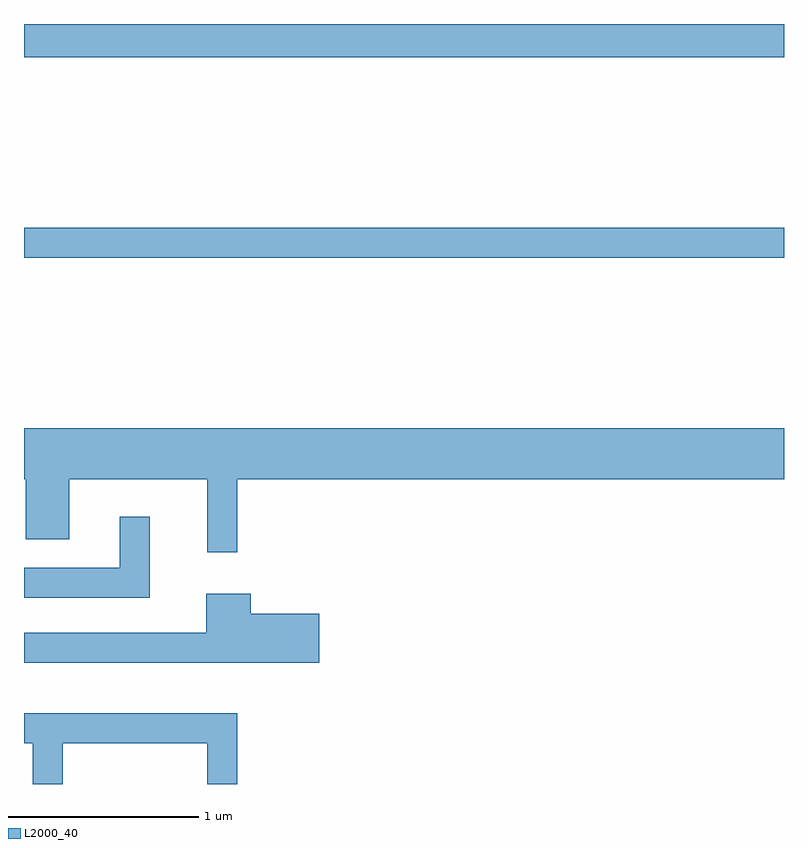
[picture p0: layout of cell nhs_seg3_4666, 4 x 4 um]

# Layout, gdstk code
import gdstk
lib = gdstk.Library(unit=1e-6, precision=1e-09)
def R(c, l, rs):  # rectangles x0, y0, x1, y1
    for r in rs: c.add(gdstk.rectangle(r[:2], r[2:], *l))
def P(c, l, *ps):  # polygons
    for p in ps: c.add(gdstk.Polygon(p, *l))
L2000_40 = (2000, 40)

nhs_seg3_4666 = lib.new_cell('nhs_seg3_4666')
R(nhs_seg3_4666, L2000_40, [(321.611,1202.661,325.611,1202.819), (321.611,1203.716,325.611,1203.892)])
P(nhs_seg3_4666, L2000_40, [(322.734,1201.496),(325.611,1201.496),(325.611,1201.764),(321.611,1201.764),(321.611,1201.496),(321.621,1201.496),(321.621,1201.181),(321.849,1201.181),(321.849,1201.496),(322.576,1201.496),(322.576,1201.113),(322.734,1201.113)],
  [(322.274,1201.298),(322.116,1201.298),(322.116,1201.029),(321.611,1201.029),(321.611,1200.871),(322.274,1200.871)],
  [(323.164,1200.789),(322.804,1200.789),(322.804,1200.894),(322.571,1200.894),(322.571,1200.689),(321.611,1200.689),(321.611,1200.531),(323.164,1200.531)],
  [(321.814,1200.106),(322.576,1200.106),(322.576,1199.892),(322.734,1199.892),(322.734,1200.264),(321.611,1200.264),(321.611,1200.106),(321.656,1200.106),(321.656,1199.892),(321.814,1199.892)])

lib.write_gds('nhs_seg3_4666.gds')
